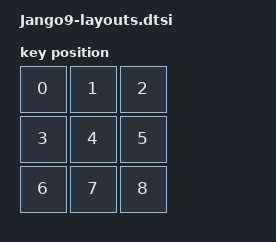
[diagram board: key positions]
#include <physical_layouts.dtsi>

/ {
    jango9_physical_layout: jango9_physical_layout {
        compatible = "zmk,physical-layout";
        display-name = "Macro Pad";
        transform = <&default_transform>;
        kscan = <&kscan0>;
        keys  //                     w   h    x    y     rot    rx    ry
            = <&key_physical_attrs 100 100    0    0       0     0     0>
            , <&key_physical_attrs 100 100  100    0       0     0     0>
            , <&key_physical_attrs 100 100  200    0       0     0     0>
            , <&key_physical_attrs 100 100    0  100       0     0     0>
            , <&key_physical_attrs 100 100  100  100       0     0     0>
            , <&key_physical_attrs 100 100  200  100       0     0     0>
            , <&key_physical_attrs 100 100    0  200       0     0     0>
            , <&key_physical_attrs 100 100  100  200       0     0     0>
            , <&key_physical_attrs 100 100  200  200       0     0     0>
            ;
    };

   position_map {
      compatible = "zmk,physical-layout-position-map";

      jango9_physical_layout {
         physical-layout = <&jango9_physical_layout>;
         positions = <>;
      };
   };
   
};
